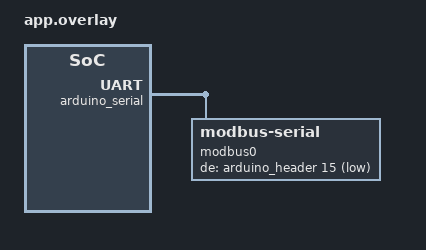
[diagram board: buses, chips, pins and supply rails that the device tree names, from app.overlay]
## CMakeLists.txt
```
# SPDX-License-Identifier: Apache-2.0

cmake_minimum_required(VERSION 3.28.0)

find_package(Zephyr REQUIRED HINTS $ENV{ZEPHYR_BASE})
project(modbus-rtu-client)

target_sources(app PRIVATE src/main.c)
```

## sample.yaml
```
sample:
  name: Modbus RTU Client Sample
tests:
  sample.modbus.rtu_client:
    build_only: true
    platform_allow:
      - nrf52840dk/nrf52840
      - frdm_k64f/mk64f12
    integration_platforms:
      - nrf52840dk/nrf52840
    tags:
      - uart
      - modbus
    depends_on:
      - gpio
      - arduino_serial
```

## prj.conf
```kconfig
CONFIG_LOG=y
CONFIG_GPIO=y
CONFIG_SERIAL=y
CONFIG_UART_INTERRUPT_DRIVEN=y
CONFIG_UART_LINE_CTRL=n

CONFIG_MODBUS=y
CONFIG_MODBUS_ROLE_CLIENT=y
```

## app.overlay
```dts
/*
 * Copyright (c) 2020 Phytec Messtechnik GmbH
 *
 * SPDX-License-Identifier: Apache-2.0
 */

&arduino_serial {
	status = "okay";

	modbus0 {
		compatible = "zephyr,modbus-serial";
		de-gpios = <&arduino_header 15 GPIO_ACTIVE_LOW>;	/* D9 */
		status = "okay";
	};
};
```

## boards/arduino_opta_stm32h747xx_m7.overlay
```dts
/*
 * Copyright (c) 2024 DNDG srl
 *
 * SPDX-License-Identifier: Apache-2.0
 */

&usart3 {

	status = "okay";

	modbus0 {
		status = "okay";
	};
};
```

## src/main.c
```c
/*
 * Copyright (c) 2020 PHYTEC Messtechnik GmbH
 *
 * SPDX-License-Identifier: Apache-2.0
 */

#include <zephyr/kernel.h>
#include <zephyr/sys/util.h>
#include <zephyr/modbus/modbus.h>

#include <zephyr/logging/log.h>
LOG_MODULE_REGISTER(mbc_sample, LOG_LEVEL_INF);

static int client_iface;

const static struct modbus_iface_param client_param = {
	.mode = MODBUS_MODE_RTU,
	.rx_timeout = 50000,
	.serial = {
		.baud = 19200,
		.parity = UART_CFG_PARITY_NONE,
	},
};

#define MODBUS_NODE DT_COMPAT_GET_ANY_STATUS_OKAY(zephyr_modbus_serial)

static int init_modbus_client(void)
{
	const char iface_name[] = {DEVICE_DT_NAME(MODBUS_NODE)};

	client_iface = modbus_iface_get_by_name(iface_name);

	return modbus_init_client(client_iface, client_param);
}

int main(void)
{
	uint16_t holding_reg[8] = {'H', 'e', 'l', 'l', 'o'};
	const uint8_t coil_qty = 3;
	uint8_t coil[1] = {0};
	const int32_t sleep = 250;
	static uint8_t node = 1;
	int err;


	if (init_modbus_client()) {
		LOG_ERROR("Modbus RTU client initialization failed");
		return 0;
	}

	err = modbus_write_holding_regs(client_iface, node, 0, holding_reg,
					ARRAY_SIZE(holding_reg));
	if (err != 0) {
		LOG_ERROR("FC16 failed with %d", err);
		return 0;
	}

	err = modbus_read_holding_regs(client_iface, node, 0, holding_reg,
				       ARRAY_SIZE(holding_reg));
	if (err != 0) {
		LOG_ERROR("FC03 failed with %d", err);
		return 0;
	}

	LOG_HEXDUMP_INF(holding_reg, sizeof(holding_reg),
			"WR|RD holding register:");

	while (true) {
		uint16_t addr = 0;

		err = modbus_read_coils(client_iface, node, 0, coil, coil_qty);
		if (err != 0) {
			LOG_ERROR("FC01 failed with %d", err);
			return 0;
		}

		LOG_INF("Coils state 0x%02x", coil[0]);

		err = modbus_write_coil(client_iface, node, addr++, true);
		if (err != 0) {
			LOG_ERROR("FC05 failed with %d", err);
			return 0;
		}

		k_msleep(sleep);
		err = modbus_write_coil(client_iface, node, addr++, true);
		if (err != 0) {
			LOG_ERROR("FC05 failed with %d", err);
			return 0;
		}

		k_msleep(sleep);
		err = modbus_write_coil(client_iface, node, addr++, true);
		if (err != 0) {
			LOG_ERROR("FC05 failed with %d", err);
			return 0;
		}

		k_msleep(sleep);
		err = modbus_read_coils(client_iface, node, 0, coil, coil_qty);
		if (err != 0) {
			LOG_ERROR("FC01 failed with %d", err);
			return 0;
		}

		LOG_INF("Coils state 0x%02x", coil[0]);

		coil[0] = 0;
		err = modbus_write_coils(client_iface, node, 0, coil, coil_qty);
		if (err != 0) {
			LOG_ERROR("FC15 failed with %d", err);
			return 0;
		}

		k_msleep(sleep);
	}
}
```
